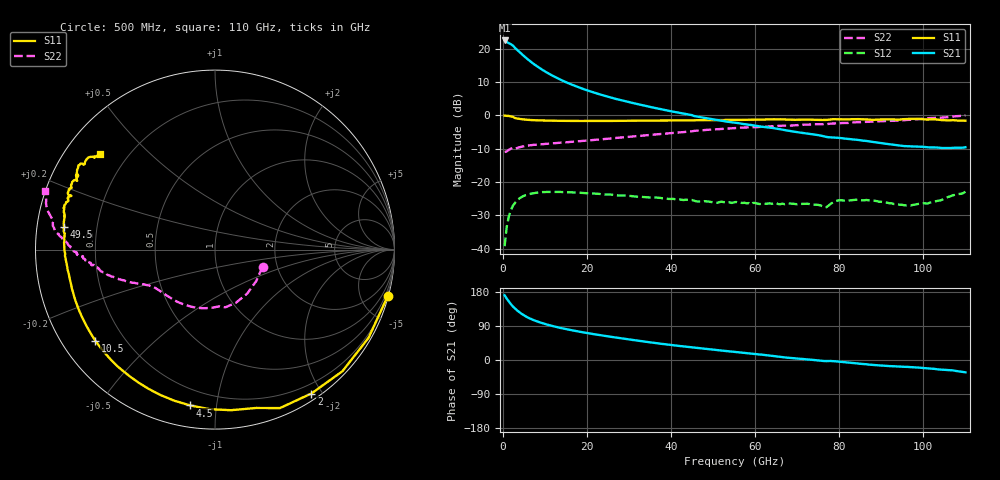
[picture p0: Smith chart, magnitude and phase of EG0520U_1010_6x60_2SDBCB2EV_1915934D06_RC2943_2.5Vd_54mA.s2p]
!File name = EG0520U_1010_6x60_2SDBCB2EV_1915934D06_RC2943_2.5Vd_54mA.s2p
!Base file name = EG0520U_1010_6x60_2SDBCB2EV_1915934D06_RC2943
!Date = 8/23/2019
!Time = 1:02 PM
!Test duration(min) = 0.15
!Test = S-Parameters
!MPTS version = 8.91.5
!State File = C:\Data\PNA\20190821205423\S-Parameters_2019-08-23.sta
!Cal File =
!ComputerName = CMPE-LAB-6
!Comments =
!Attenuation = 0
!Z0 = 50
!Input Power(dBm) = -13.00
!Device ID = EG0520U_1010_6x60_2SDBCB2EV
!Row = 29
!Column = 43
!Technology = QPHT09
!Lot/Wafer = 1915934D06
!Gate Size = 360
!Mask = EG0520
!Cal Standards = GaAs BCB
!Cal Kit = EG2306
!Job Number = 20190821205423
!Device Type = FET
!set_Vg(v) = -1.500
!set_Vd(v) = 2.500
!set_Vd(mA) = 54.000
!file_name = EG0520U_1010_6x60_2SDBCB2EV_1915934D06_RC2943_2.5Vd_54mA.s2p
!Vd(V) = 2.500
!Vd(mA) = 54.055
!Vg(V) = -0.415
!Vg(mA) = -0.000
# GHz  S  DB  R  50
!%	Freq(GHz)  s11(dB)  s11(deg)  s21(dB)  s21(deg)  s12(dB)  s12(deg)  s22(dB)  s22(deg)
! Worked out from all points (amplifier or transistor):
!   220 points, 500 MHz to 110 GHz, reference 50 ohm
!   highest |S21| = 22.5 dB at 500 MHz (marker M1)
!   |S21| within 3 dB of that: start of sweep to 3.625 GHz
!   unconditionally stable (mu >= 1): 33 GHz to 97.07 GHz
!   at 18.5 GHz: K = 0.54, MSG = 15.7 dB, |S12| = -23.2 dB
!   at 55.5 GHz: K = 1.52, MAG = 7.6 dB, |S12| = -26.0 dB
!   at 110 GHz: K = -0.85, MSG = 6.7 dB, |S12| = -22.9 dB
!   S11 on the Smith chart (normalised r, x): 500 MHz: 0.11, -7.55; 2 GHz: 0.08, -1.87; 4.5 GHz: 0.11, -0.85; 10.5 GHz: 0.10, -0.33; 49.5 GHz: 0.08, +0.07; 110 GHz: 0.10, +0.36
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0.5  -0.03 -15.1  22.53 170.8  -39.27 81.3  -11.00 -19.8
1  -0.12 -29.8  22.07 162.2  -33.52 73.4  -10.78 -37.5
2  -0.31 -56.2  21.41 147.2  -28.40 59.0  -9.95 -68.4
2.5  -0.41 -67.7  20.96 140.8  -27.04 53.1  -9.71 -80.0
3  -0.81 -75.5  20.26 135.7  -26.24 48.8  -9.98 -85.0
3.5  -0.92 -84.3  19.68 130.6  -25.50 44.4  -9.77 -93.3
4.5  -1.12 -99.0  18.52 122.1  -24.53 37.1  -9.40 -106.6
5.5  -1.26 -110.6  17.41 115.2  -23.94 31.5  -9.17 -116.3
6  -1.31 -115.5  16.88 112.3  -23.74 29.1  -9.07 -120.1
7  -1.40 -123.7  15.87 107.1  -23.43 25.1  -8.89 -126.5
8.5  -1.47 -133.2  14.52 100.8  -23.13 20.6  -8.73 -132.8
10.5  -1.54 -142.7  12.92 93.8  -22.98 15.7  -8.51 -139.2
14  -1.62 -154.1  10.62 84.1  -23.00 10.2  -8.16 -145.7
19  -1.66 -164.1  8.04 73.3  -23.25 5.5  -7.64 -150.8
26.5  -1.63 -173.2  5.12 60.0  -23.87 2.6  -6.81 -155.2
37  -1.51 178.5  2.04 43.8  -24.71 2.4  -5.64 -160.2
49.5  -1.42 171.4  -1.05 27.8  -26.01 4.2  -4.22 -166.8
55.5  -1.35 168.3  -2.21 21.1  -25.97 7.3  -3.76 -169.5
73.5  -1.28 159.9  -5.64 0.5  -26.78 5.6  -2.66 -176.2
92  -1.20 151.3  -8.65 -16.1  -26.38 -9.1  -1.63 177.2
101  -1.23 146.6  -9.57 -22.1  -26.47 -4.3  -0.87 172.4
110  -1.59 140.1  -9.55 -32.5  -22.93 -15.0  0.03 161.1
